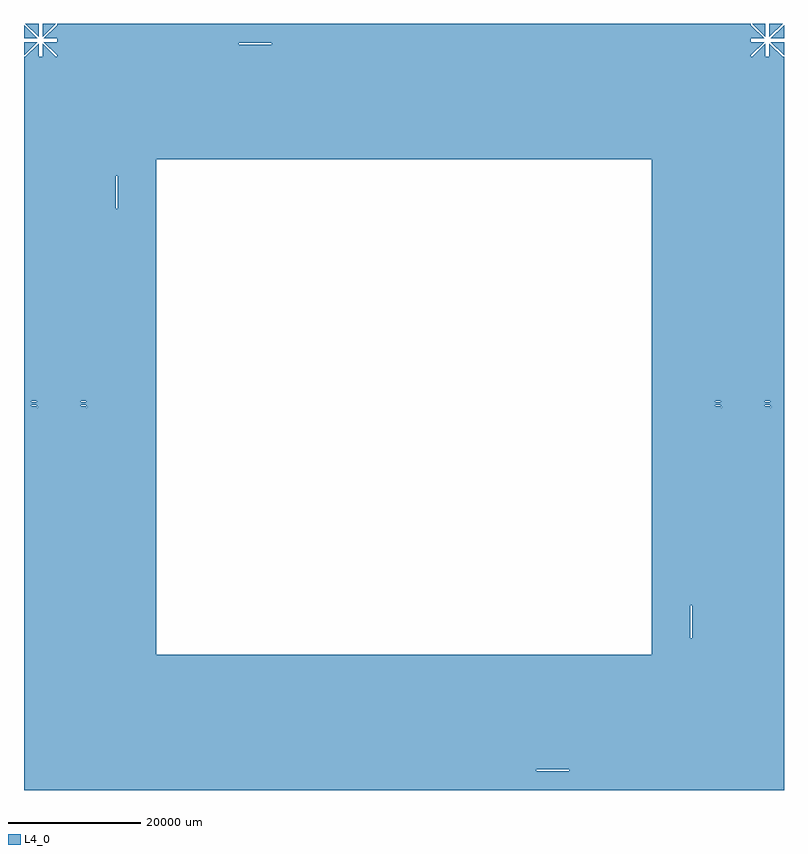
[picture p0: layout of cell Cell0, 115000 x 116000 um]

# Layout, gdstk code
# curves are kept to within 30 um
import gdstk
lib = gdstk.Library(unit=1e-6, precision=1e-09)
def R(c, l, rs):  # rectangles x0, y0, x1, y1
    for r in rs: c.add(gdstk.rectangle(r[:2], r[2:], *l))
def P(c, l, *ps):  # polygons
    for p in ps: c.add(gdstk.Polygon(p, *l))
L4_0 = (4, 0)

cell0 = lib.new_cell('Cell0')
R(cell0, L4_0, [(82500,2679.5,95815.5,3150), (82500,3150,95023.5,20500), (0,56586,580,59420), (3414,56586,8080,59420), (10914,56586,12355,59420), (101150,56586,104080,59420), (106914,56586,111580,59420), (114414,56586,115000,59420), (580,58000.2,1080,58920), (2914,58000.2,3414,58920), (8080,58000.2,8580,58920), (10414,58000.2,10914,58920), (104080,58000.2,104580,58920), (106414,58000.2,106914,58920), (111580,58000.2,112080,58920), (113914,58000.2,114414,58920), (580,58920,2000,59420), (2000,58920,3414,59420), (8080,58920,9500,59420), (9500,58920,10914,59420), (104080,58920,105500,59420), (105500,58920,106914,59420), (111580,58920,113000,59420), (113000,58920,114414,59420), (0,59420,12355,60892.6)])
P(cell0, L4_0, [(110000,111212.13),(111987.87,113200),(110000,113200)],
  [(0,111212.13),(1987.87,113200),(0,113200)],
  [(110000,113800),(111987.87,113800),(110000,115787.87)],
  [(112200,111000),(112200,112987.87),(110212.13,111000)],
  [(112200,114012.13),(112200,116000),(110212.13,116000)],
  [(112800,111000),(114787.87,111000),(112800,112987.87)],
  [(112800,114012.13),(114787.86,116000),(112800,116000)],
  [(115000,113800),(115000,115787.87),(113012.13,113800)],
  [(115000,111212.13),(115000,113200),(113012.13,113200)],
  [(2200,114012.13),(212.13,116000),(2200,116000)],
  [(2800,114012.13),(2800,116000),(4787.87,116000)],
  [(112200,114012.13),(110212.13,116000),(112200,116000)],
  [(112800,114012.13),(112800,116000),(114787.87,116000)],
  [(0,113800),(1987.87,113800),(0,115787.87)],
  [(2200,111000),(2200,112987.87),(212.13,111000)],
  [(2200,114012.13),(2200,116000),(212.13,116000)],
  [(2800,111000),(4787.87,111000),(2800,112987.87)],
  [(2800,114012.13),(4787.86,116000),(2800,116000)],
  [(5000,113800),(5000,115787.87),(3012.13,113800)],
  [(5000,111212.13),(5000,113200),(3012.13,113200)],
  [(9500,58080),(9420,58080),(9420,58000),(8580,58000),(8580,58100),(9400,58100),(9400,58120),(8580,58120),(8580,58140),(9400,58140),(9400,58160),(8580,58160),(8580,58180),(9400,58180),(9400,58200),(8580,58200),(8580,58220),(9400,58220),(9400,58240),(8580,58240),(8580,58260),(9400,58260),(9400,58280),(8580,58280),(8580,58300),(9400,58300),(9400,58320),(8580,58320),(8580,58340),(9400,58340),(9400,58360),(8580,58360),(8580,58380),(9400,58380),(9400,58400),(8580,58400),(8580,58420),(9400,58420),(9400,58440),(8580,58440),(8580,58460),(9400,58460),(9400,58480),(8580,58480),(8580,58500),(9400,58500),(9400,58520),(8580,58520),(8580,58540),(9400,58540),(9400,58560),(8580,58560),(8580,58580),(9400,58580),(9400,58600),(8580,58600),(8580,58620),(9400,58620),(9400,58640),(8580,58640),(8580,58660),(9400,58660),(9400,58680),(8580,58680),(8580,58700),(9400,58700),(9400,58720),(8580,58720),(8580,58740),(9400,58740),(9400,58760),(8580,58760),(8580,58780),(9400,58780),(9400,58800),(8580,58800),(8580,58820),(9400,58820),(9400,58840),(8580,58840),(8580,58860),(9400,58860),(9400,58880),(8580,58880),(8580,58900),(9400,58900),(9400,58920),(9500,58920)],
  [(9500,57086),(9400,57086),(9400,57900),(9380,57900),(9380,57086),(9360,57086),(9360,57900),(9340,57900),(9340,57086),(9320,57086),(9320,57900),(9300,57900),(9300,57086),(9280,57086),(9280,57900),(9260,57900),(9260,57086),(9240,57086),(9240,57900),(9220,57900),(9220,57086),(9200,57086),(9200,57900),(9180,57900),(9180,57086),(9160,57086),(9160,57900),(9140,57900),(9140,57086),(9120,57086),(9120,57900),(9100,57900),(9100,57086),(9080,57086),(9080,57900),(9060,57900),(9060,57086),(9040,57086),(9040,57900),(9020,57900),(9020,57086),(9000,57086),(9000,57900),(8980,57900),(8980,57086),(8960,57086),(8960,57900),(8940,57900),(8940,57086),(8920,57086),(8920,57900),(8900,57900),(8900,57086),(8880,57086),(8880,57900),(8860,57900),(8860,57086),(8840,57086),(8840,57900),(8820,57900),(8820,57086),(8800,57086),(8800,57900),(8780,57900),(8780,57086),(8760,57086),(8760,57900),(8740,57900),(8740,57086),(8720,57086),(8720,57900),(8700,57900),(8700,57086),(8680,57086),(8680,57900),(8660,57900),(8660,57086),(8640,57086),(8640,57900),(8620,57900),(8620,57086),(8600,57086),(8600,57900),(8580,57900),(8580,58000),(9420,58000),(9420,57920),(9500,57920)],
  [(10414,58000),(9580,58000),(9580,58080),(9500,58080),(9500,58920),(9600,58920),(9600,58100),(9622,58100),(9622,58920),(9644,58920),(9644,58100),(9666,58100),(9666,58920),(9688,58920),(9688,58100),(9710,58100),(9710,58920),(9732,58920),(9732,58100),(9754,58100),(9754,58920),(9776,58920),(9776,58100),(9798,58100),(9798,58920),(9820,58920),(9820,58100),(9842,58100),(9842,58920),(9864,58920),(9864,58100),(9886,58100),(9886,58920),(9908,58920),(9908,58100),(9930,58100),(9930,58920),(9952,58920),(9952,58100),(9974,58100),(9974,58920),(9996,58920),(9996,58100),(10018,58100),(10018,58920),(10040,58920),(10040,58100),(10062,58100),(10062,58920),(10084,58920),(10084,58100),(10106,58100),(10106,58920),(10128,58920),(10128,58100),(10150,58100),(10150,58920),(10172,58920),(10172,58100),(10194,58100),(10194,58920),(10216,58920),(10216,58100),(10238,58100),(10238,58920),(10260,58920),(10260,58100),(10282,58100),(10282,58920),(10304,58920),(10304,58100),(10326,58100),(10326,58920),(10348,58920),(10348,58100),(10370,58100),(10370,58920),(10392,58920),(10392,58100),(10414,58100)],
  [(10414,57108),(9600,57108),(9600,57086),(9500,57086),(9500,57920),(9580,57920),(9580,58000),(10414,58000),(10414,57900),(9600,57900),(9600,57878),(10414,57878),(10414,57856),(9600,57856),(9600,57834),(10414,57834),(10414,57812),(9600,57812),(9600,57790),(10414,57790),(10414,57768),(9600,57768),(9600,57746),(10414,57746),(10414,57724),(9600,57724),(9600,57702),(10414,57702),(10414,57680),(9600,57680),(9600,57658),(10414,57658),(10414,57636),(9600,57636),(9600,57614),(10414,57614),(10414,57592),(9600,57592),(9600,57570),(10414,57570),(10414,57548),(9600,57548),(9600,57526),(10414,57526),(10414,57504),(9600,57504),(9600,57482),(10414,57482),(10414,57460),(9600,57460),(9600,57438),(10414,57438),(10414,57416),(9600,57416),(9600,57394),(10414,57394),(10414,57372),(9600,57372),(9600,57350),(10414,57350),(10414,57328),(9600,57328),(9600,57306),(10414,57306),(10414,57284),(9600,57284),(9600,57262),(10414,57262),(10414,57240),(9600,57240),(9600,57218),(10414,57218),(10414,57196),(9600,57196),(9600,57174),(10414,57174),(10414,57152),(9600,57152),(9600,57130),(10414,57130)],
  [(9500,56586),(8080,56586),(8080,58000.2),(8580,58000.2),(8580,57086),(9500,57086)],
  [(10914,56586),(9500,56586),(9500,57086),(10414,57086),(10414,58000.2),(10914,58000.2)],
  [(2000,58080),(1920,58080),(1920,58000),(1080,58000),(1080,58100),(1900,58100),(1900,58120),(1080,58120),(1080,58140),(1900,58140),(1900,58160),(1080,58160),(1080,58180),(1900,58180),(1900,58200),(1080,58200),(1080,58220),(1900,58220),(1900,58240),(1080,58240),(1080,58260),(1900,58260),(1900,58280),(1080,58280),(1080,58300),(1900,58300),(1900,58320),(1080,58320),(1080,58340),(1900,58340),(1900,58360),(1080,58360),(1080,58380),(1900,58380),(1900,58400),(1080,58400),(1080,58420),(1900,58420),(1900,58440),(1080,58440),(1080,58460),(1900,58460),(1900,58480),(1080,58480),(1080,58500),(1900,58500),(1900,58520),(1080,58520),(1080,58540),(1900,58540),(1900,58560),(1080,58560),(1080,58580),(1900,58580),(1900,58600),(1080,58600),(1080,58620),(1900,58620),(1900,58640),(1080,58640),(1080,58660),(1900,58660),(1900,58680),(1080,58680),(1080,58700),(1900,58700),(1900,58720),(1080,58720),(1080,58740),(1900,58740),(1900,58760),(1080,58760),(1080,58780),(1900,58780),(1900,58800),(1080,58800),(1080,58820),(1900,58820),(1900,58840),(1080,58840),(1080,58860),(1900,58860),(1900,58880),(1080,58880),(1080,58900),(1900,58900),(1900,58920),(2000,58920)],
  [(2000,57086),(1900,57086),(1900,57900),(1880,57900),(1880,57086),(1860,57086),(1860,57900),(1840,57900),(1840,57086),(1820,57086),(1820,57900),(1800,57900),(1800,57086),(1780,57086),(1780,57900),(1760,57900),(1760,57086),(1740,57086),(1740,57900),(1720,57900),(1720,57086),(1700,57086),(1700,57900),(1680,57900),(1680,57086),(1660,57086),(1660,57900),(1640,57900),(1640,57086),(1620,57086),(1620,57900),(1600,57900),(1600,57086),(1580,57086),(1580,57900),(1560,57900),(1560,57086),(1540,57086),(1540,57900),(1520,57900),(1520,57086),(1500,57086),(1500,57900),(1480,57900),(1480,57086),(1460,57086),(1460,57900),(1440,57900),(1440,57086),(1420,57086),(1420,57900),(1400,57900),(1400,57086),(1380,57086),(1380,57900),(1360,57900),(1360,57086),(1340,57086),(1340,57900),(1320,57900),(1320,57086),(1300,57086),(1300,57900),(1280,57900),(1280,57086),(1260,57086),(1260,57900),(1240,57900),(1240,57086),(1220,57086),(1220,57900),(1200,57900),(1200,57086),(1180,57086),(1180,57900),(1160,57900),(1160,57086),(1140,57086),(1140,57900),(1120,57900),(1120,57086),(1100,57086),(1100,57900),(1080,57900),(1080,58000),(1920,58000),(1920,57920),(2000,57920)],
  [(2914,58000),(2080,58000),(2080,58080),(2000,58080),(2000,58920),(2100,58920),(2100,58100),(2122,58100),(2122,58920),(2144,58920),(2144,58100),(2166,58100),(2166,58920),(2188,58920),(2188,58100),(2210,58100),(2210,58920),(2232,58920),(2232,58100),(2254,58100),(2254,58920),(2276,58920),(2276,58100),(2298,58100),(2298,58920),(2320,58920),(2320,58100),(2342,58100),(2342,58920),(2364,58920),(2364,58100),(2386,58100),(2386,58920),(2408,58920),(2408,58100),(2430,58100),(2430,58920),(2452,58920),(2452,58100),(2474,58100),(2474,58920),(2496,58920),(2496,58100),(2518,58100),(2518,58920),(2540,58920),(2540,58100),(2562,58100),(2562,58920),(2584,58920),(2584,58100),(2606,58100),(2606,58920),(2628,58920),(2628,58100),(2650,58100),(2650,58920),(2672,58920),(2672,58100),(2694,58100),(2694,58920),(2716,58920),(2716,58100),(2738,58100),(2738,58920),(2760,58920),(2760,58100),(2782,58100),(2782,58920),(2804,58920),(2804,58100),(2826,58100),(2826,58920),(2848,58920),(2848,58100),(2870,58100),(2870,58920),(2892,58920),(2892,58100),(2914,58100)],
  [(2914,57108),(2100,57108),(2100,57086),(2000,57086),(2000,57920),(2080,57920),(2080,58000),(2914,58000),(2914,57900),(2100,57900),(2100,57878),(2914,57878),(2914,57856),(2100,57856),(2100,57834),(2914,57834),(2914,57812),(2100,57812),(2100,57790),(2914,57790),(2914,57768),(2100,57768),(2100,57746),(2914,57746),(2914,57724),(2100,57724),(2100,57702),(2914,57702),(2914,57680),(2100,57680),(2100,57658),(2914,57658),(2914,57636),(2100,57636),(2100,57614),(2914,57614),(2914,57592),(2100,57592),(2100,57570),(2914,57570),(2914,57548),(2100,57548),(2100,57526),(2914,57526),(2914,57504),(2100,57504),(2100,57482),(2914,57482),(2914,57460),(2100,57460),(2100,57438),(2914,57438),(2914,57416),(2100,57416),(2100,57394),(2914,57394),(2914,57372),(2100,57372),(2100,57350),(2914,57350),(2914,57328),(2100,57328),(2100,57306),(2914,57306),(2914,57284),(2100,57284),(2100,57262),(2914,57262),(2914,57240),(2100,57240),(2100,57218),(2914,57218),(2914,57196),(2100,57196),(2100,57174),(2914,57174),(2914,57152),(2100,57152),(2100,57130),(2914,57130)],
  [(2000,56586),(580,56586),(580,58000.2),(1080,58000.2),(1080,57086),(2000,57086)],
  [(3414,56586),(2000,56586),(2000,57086),(2914,57086),(2914,58000.2),(3414,58000.2)],
  [(113000,58080),(112920,58080),(112920,58000),(112080,58000),(112080,58100),(112900,58100),(112900,58120),(112080,58120),(112080,58140),(112900,58140),(112900,58160),(112080,58160),(112080,58180),(112900,58180),(112900,58200),(112080,58200),(112080,58220),(112900,58220),(112900,58240),(112080,58240),(112080,58260),(112900,58260),(112900,58280),(112080,58280),(112080,58300),(112900,58300),(112900,58320),(112080,58320),(112080,58340),(112900,58340),(112900,58360),(112080,58360),(112080,58380),(112900,58380),(112900,58400),(112080,58400),(112080,58420),(112900,58420),(112900,58440),(112080,58440),(112080,58460),(112900,58460),(112900,58480),(112080,58480),(112080,58500),(112900,58500),(112900,58520),(112080,58520),(112080,58540),(112900,58540),(112900,58560),(112080,58560),(112080,58580),(112900,58580),(112900,58600),(112080,58600),(112080,58620),(112900,58620),(112900,58640),(112080,58640),(112080,58660),(112900,58660),(112900,58680),(112080,58680),(112080,58700),(112900,58700),(112900,58720),(112080,58720),(112080,58740),(112900,58740),(112900,58760),(112080,58760),(112080,58780),(112900,58780),(112900,58800),(112080,58800),(112080,58820),(112900,58820),(112900,58840),(112080,58840),(112080,58860),(112900,58860),(112900,58880),(112080,58880),(112080,58900),(112900,58900),(112900,58920),(113000,58920)],
  [(113000,57086),(112900,57086),(112900,57900),(112880,57900),(112880,57086),(112860,57086),(112860,57900),(112840,57900),(112840,57086),(112820,57086),(112820,57900),(112800,57900),(112800,57086),(112780,57086),(112780,57900),(112760,57900),(112760,57086),(112740,57086),(112740,57900),(112720,57900),(112720,57086),(112700,57086),(112700,57900),(112680,57900),(112680,57086),(112660,57086),(112660,57900),(112640,57900),(112640,57086),(112620,57086),(112620,57900),(112600,57900),(112600,57086),(112580,57086),(112580,57900),(112560,57900),(112560,57086),(112540,57086),(112540,57900),(112520,57900),(112520,57086),(112500,57086),(112500,57900),(112480,57900),(112480,57086),(112460,57086),(112460,57900),(112440,57900),(112440,57086),(112420,57086),(112420,57900),(112400,57900),(112400,57086),(112380,57086),(112380,57900),(112360,57900),(112360,57086),(112340,57086),(112340,57900),(112320,57900),(112320,57086),(112300,57086),(112300,57900),(112280,57900),(112280,57086),(112260,57086),(112260,57900),(112240,57900),(112240,57086),(112220,57086),(112220,57900),(112200,57900),(112200,57086),(112180,57086),(112180,57900),(112160,57900),(112160,57086),(112140,57086),(112140,57900),(112120,57900),(112120,57086),(112100,57086),(112100,57900),(112080,57900),(112080,58000),(112920,58000),(112920,57920),(113000,57920)],
  [(113914,58000),(113080,58000),(113080,58080),(113000,58080),(113000,58920),(113100,58920),(113100,58100),(113122,58100),(113122,58920),(113144,58920),(113144,58100),(113166,58100),(113166,58920),(113188,58920),(113188,58100),(113210,58100),(113210,58920),(113232,58920),(113232,58100),(113254,58100),(113254,58920),(113276,58920),(113276,58100),(113298,58100),(113298,58920),(113320,58920),(113320,58100),(113342,58100),(113342,58920),(113364,58920),(113364,58100),(113386,58100),(113386,58920),(113408,58920),(113408,58100),(113430,58100),(113430,58920),(113452,58920),(113452,58100),(113474,58100),(113474,58920),(113496,58920),(113496,58100),(113518,58100),(113518,58920),(113540,58920),(113540,58100),(113562,58100),(113562,58920),(113584,58920),(113584,58100),(113606,58100),(113606,58920),(113628,58920),(113628,58100),(113650,58100),(113650,58920),(113672,58920),(113672,58100),(113694,58100),(113694,58920),(113716,58920),(113716,58100),(113738,58100),(113738,58920),(113760,58920),(113760,58100),(113782,58100),(113782,58920),(113804,58920),(113804,58100),(113826,58100),(113826,58920),(113848,58920),(113848,58100),(113870,58100),(113870,58920),(113892,58920),(113892,58100),(113914,58100)],
  [(113914,57108),(113100,57108),(113100,57086),(113000,57086),(113000,57920),(113080,57920),(113080,58000),(113914,58000),(113914,57900),(113100,57900),(113100,57878),(113914,57878),(113914,57856),(113100,57856),(113100,57834),(113914,57834),(113914,57812),(113100,57812),(113100,57790),(113914,57790),(113914,57768),(113100,57768),(113100,57746),(113914,57746),(113914,57724),(113100,57724),(113100,57702),(113914,57702),(113914,57680),(113100,57680),(113100,57658),(113914,57658),(113914,57636),(113100,57636),(113100,57614),(113914,57614),(113914,57592),(113100,57592),(113100,57570),(113914,57570),(113914,57548),(113100,57548),(113100,57526),(113914,57526),(113914,57504),(113100,57504),(113100,57482),(113914,57482),(113914,57460),(113100,57460),(113100,57438),(113914,57438),(113914,57416),(113100,57416),(113100,57394),(113914,57394),(113914,57372),(113100,57372),(113100,57350),(113914,57350),(113914,57328),(113100,57328),(113100,57306),(113914,57306),(113914,57284),(113100,57284),(113100,57262),(113914,57262),(113914,57240),(113100,57240),(113100,57218),(113914,57218),(113914,57196),(113100,57196),(113100,57174),(113914,57174),(113914,57152),(113100,57152),(113100,57130),(113914,57130)],
  [(113000,56586),(111580,56586),(111580,58000.2),(112080,58000.2),(112080,57086),(113000,57086)],
  [(114414,56586),(113000,56586),(113000,57086),(113914,57086),(113914,58000.2),(114414,58000.2)],
  [(105500,58080),(105420,58080),(105420,58000),(104580,58000),(104580,58100),(105400,58100),(105400,58120),(104580,58120),(104580,58140),(105400,58140),(105400,58160),(104580,58160),(104580,58180),(105400,58180),(105400,58200),(104580,58200),(104580,58220),(105400,58220),(105400,58240),(104580,58240),(104580,58260),(105400,58260),(105400,58280),(104580,58280),(104580,58300),(105400,58300),(105400,58320),(104580,58320),(104580,58340),(105400,58340),(105400,58360),(104580,58360),(104580,58380),(105400,58380),(105400,58400),(104580,58400),(104580,58420),(105400,58420),(105400,58440),(104580,58440),(104580,58460),(105400,58460),(105400,58480),(104580,58480),(104580,58500),(105400,58500),(105400,58520),(104580,58520),(104580,58540),(105400,58540),(105400,58560),(104580,58560),(104580,58580),(105400,58580),(105400,58600),(104580,58600),(104580,58620),(105400,58620),(105400,58640),(104580,58640),(104580,58660),(105400,58660),(105400,58680),(104580,58680),(104580,58700),(105400,58700),(105400,58720),(104580,58720),(104580,58740),(105400,58740),(105400,58760),(104580,58760),(104580,58780),(105400,58780),(105400,58800),(104580,58800),(104580,58820),(105400,58820),(105400,58840),(104580,58840),(104580,58860),(105400,58860),(105400,58880),(104580,58880),(104580,58900),(105400,58900),(105400,58920),(105500,58920)],
  [(105500,57086),(105400,57086),(105400,57900),(105380,57900),(105380,57086),(105360,57086),(105360,57900),(105340,57900),(105340,57086),(105320,57086),(105320,57900),(105300,57900),(105300,57086),(105280,57086),(105280,57900),(105260,57900),(105260,57086),(105240,57086),(105240,57900),(105220,57900),(105220,57086),(105200,57086),(105200,57900),(105180,57900),(105180,57086),(105160,57086),(105160,57900),(105140,57900),(105140,57086),(105120,57086),(105120,57900),(105100,57900),(105100,57086),(105080,57086),(105080,57900),(105060,57900),(105060,57086),(105040,57086),(105040,57900),(105020,57900),(105020,57086),(105000,57086),(105000,57900),(104980,57900),(104980,57086),(104960,57086),(104960,57900),(104940,57900),(104940,57086),(104920,57086),(104920,57900),(104900,57900),(104900,57086),(104880,57086),(104880,57900),(104860,57900),(104860,57086),(104840,57086),(104840,57900),(104820,57900),(104820,57086),(104800,57086),(104800,57900),(104780,57900),(104780,57086),(104760,57086),(104760,57900),(104740,57900),(104740,57086),(104720,57086),(104720,57900),(104700,57900),(104700,57086),(104680,57086),(104680,57900),(104660,57900),(104660,57086),(104640,57086),(104640,57900),(104620,57900),(104620,57086),(104600,57086),(104600,57900),(104580,57900),(104580,58000),(105420,58000),(105420,57920),(105500,57920)],
  [(106414,58000),(105580,58000),(105580,58080),(105500,58080),(105500,58920),(105600,58920),(105600,58100),(105622,58100),(105622,58920),(105644,58920),(105644,58100),(105666,58100),(105666,58920),(105688,58920),(105688,58100),(105710,58100),(105710,58920),(105732,58920),(105732,58100),(105754,58100),(105754,58920),(105776,58920),(105776,58100),(105798,58100),(105798,58920),(105820,58920),(105820,58100),(105842,58100),(105842,58920),(105864,58920),(105864,58100),(105886,58100),(105886,58920),(105908,58920),(105908,58100),(105930,58100),(105930,58920),(105952,58920),(105952,58100),(105974,58100),(105974,58920),(105996,58920),(105996,58100),(106018,58100),(106018,58920),(106040,58920),(106040,58100),(106062,58100),(106062,58920),(106084,58920),(106084,58100),(106106,58100),(106106,58920),(106128,58920),(106128,58100),(106150,58100),(106150,58920),(106172,58920),(106172,58100),(106194,58100),(106194,58920),(106216,58920),(106216,58100),(106238,58100),(106238,58920),(106260,58920),(106260,58100),(106282,58100),(106282,58920),(106304,58920),(106304,58100),(106326,58100),(106326,58920),(106348,58920),(106348,58100),(106370,58100),(106370,58920),(106392,58920),(106392,58100),(106414,58100)],
  [(106914,56586),(105500,56586),(105500,57086),(106414,57086),(106414,58000.2),(106914,58000.2)],
  [(106414,57108),(105600,57108),(105600,57086),(105500,57086),(105500,57920),(105580,57920),(105580,58000),(106414,58000),(106414,57900),(105600,57900),(105600,57878),(106414,57878),(106414,57856),(105600,57856),(105600,57834),(106414,57834),(106414,57812),(105600,57812),(105600,57790),(106414,57790),(106414,57768),(105600,57768),(105600,57746),(106414,57746),(106414,57724),(105600,57724),(105600,57702),(106414,57702),(106414,57680),(105600,57680),(105600,57658),(106414,57658),(106414,57636),(105600,57636),(105600,57614),(106414,57614),(106414,57592),(105600,57592),(105600,57570),(106414,57570),(106414,57548),(105600,57548),(105600,57526),(106414,57526),(106414,57504),(105600,57504),(105600,57482),(106414,57482),(106414,57460),(105600,57460),(105600,57438),(106414,57438),(106414,57416),(105600,57416),(105600,57394),(106414,57394),(106414,57372),(105600,57372),(105600,57350),(106414,57350),(106414,57328),(105600,57328),(105600,57306),(106414,57306),(106414,57284),(105600,57284),(105600,57262),(106414,57262),(106414,57240),(105600,57240),(105600,57218),(106414,57218),(106414,57196),(105600,57196),(105600,57174),(106414,57174),(106414,57152),(105600,57152),(105600,57130),(106414,57130)],
  [(105500,56586),(104080,56586),(104080,58000.2),(104580,58000.2),(104580,57086),(105500,57086)],
  [(115000,0),(0,1),(0,56586),(20000,56586),(20000,20500),(82500,20500),(82500,3150),(77500,3150),(77500,2850),(95000,2850),(95000,95500),(20000,95500),(20000,56586),(12355,56586),(12355,60892.6),(0,60892.6),(0,111000),(212.13,111000),(2200,112987.87),(2200,111000),(2800,111000),(2800,112987.87),(4787.87,111000),(5000,111000),(5000,111212.13),(3012.13,113200),(5000,113200),(5000,113800),(3012.13,113800),(5000,115787.87),(5000,116000),(14150,116000),(14150,93000),(13850,93000),(13850,88000),(14150,88000),(14150,116000),(37500,116000),(37500,113150),(32500,113150),(32500,112850),(37500,112850),(37500,116000),(110000,116000),(110000,115787.87),(111987.87,113800),(110000,113800),(110000,113200),(111987.87,113200),(110000,111212.13),(110000,111000),(110212.13,111000),(112200,112987.87),(112200,111000),(112800,111000),(112800,112987.87),(114787.87,111000),(115000,111000),(115000,59420),(101150,59420),(101150,28000),(100850,28000),(100850,23000),(101150,23000),(101150,56586),(115000,56586)],
  [(0,111212.13),(0,113200),(1987.87,113200)],
  [(0,113800),(0,115787.87),(1987.87,113800)],
  [(115000,113800),(113012.13,113800),(115000,115787.87)],
  [(115000,111212.13),(113012.13,113200),(115000,113200)])

lib.write_gds('Cell0.gds')
